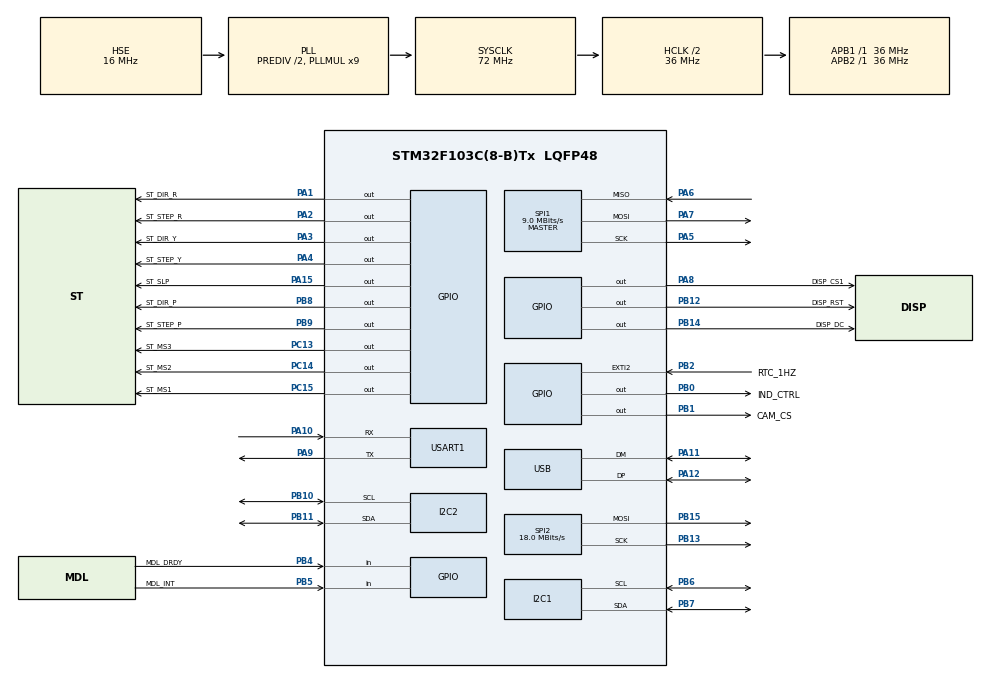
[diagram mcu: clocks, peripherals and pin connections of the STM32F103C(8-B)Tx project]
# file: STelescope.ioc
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Dma.Request0=SPI2_TX
Dma.Request1=SPI1_RX
Dma.Request2=SPI1_TX
Dma.SPI1_RX.1.Direction=DMA_PERIPH_TO_MEMORY
Dma.SPI1_RX.1.Instance=DMA1_Channel2
Dma.SPI1_RX.1.MemDataAlignment=DMA_MDATAALIGN_BYTE
Dma.SPI1_RX.1.MemInc=DMA_MINC_ENABLE
Dma.SPI1_RX.1.Mode=DMA_NORMAL
Dma.SPI1_RX.1.PeriphDataAlignment=DMA_PDATAALIGN_BYTE
Dma.SPI1_RX.1.PeriphInc=DMA_PINC_DISABLE
Dma.SPI1_RX.1.Priority=DMA_PRIORITY_LOW
Dma.SPI1_TX.2.Direction=DMA_MEMORY_TO_PERIPH
Dma.SPI1_TX.2.Instance=DMA1_Channel3
Dma.SPI1_TX.2.MemDataAlignment=DMA_MDATAALIGN_BYTE
Dma.SPI1_TX.2.MemInc=DMA_MINC_ENABLE
Dma.SPI1_TX.2.Mode=DMA_NORMAL
Dma.SPI1_TX.2.PeriphDataAlignment=DMA_PDATAALIGN_BYTE
Dma.SPI1_TX.2.PeriphInc=DMA_PINC_DISABLE
Dma.SPI1_TX.2.Priority=DMA_PRIORITY_LOW
Dma.SPI2_TX.0.Direction=DMA_MEMORY_TO_PERIPH
Dma.SPI2_TX.0.Instance=DMA1_Channel5
Dma.SPI2_TX.0.MemDataAlignment=DMA_MDATAALIGN_BYTE
Dma.SPI2_TX.0.MemInc=DMA_MINC_ENABLE
Dma.SPI2_TX.0.Mode=DMA_NORMAL
Dma.SPI2_TX.0.PeriphDataAlignment=DMA_PDATAALIGN_BYTE
Dma.SPI2_TX.0.PeriphInc=DMA_PINC_DISABLE
Dma.SPI2_TX.0.Priority=DMA_PRIORITY_LOW
Mcu.Family=STM32F1
Mcu.Name=STM32F103C(8-B)Tx
Mcu.Package=LQFP48
NVIC.DMA1_Channel2_IRQn=true\:0\:0\:false\:false\:true\:false\:true\:true
NVIC.DMA1_Channel3_IRQn=true\:0\:0\:false\:false\:true\:false\:true\:true
NVIC.DMA1_Channel5_IRQn=true\:0\:0\:false\:false\:true\:false\:true\:true
NVIC.EXTI2_IRQn=true\:0\:0\:false\:false\:true\:true\:true\:true
NVIC.I2C1_ER_IRQn=true\:0\:0\:false\:false\:true\:true\:true\:true
NVIC.I2C1_EV_IRQn=true\:0\:0\:false\:false\:true\:true\:true\:true
NVIC.I2C2_ER_IRQn=true\:0\:0\:false\:false\:true\:true\:true\:true
NVIC.I2C2_EV_IRQn=true\:0\:0\:false\:false\:true\:true\:true\:true
NVIC.PriorityGroup=NVIC_PRIORITYGROUP_4
NVIC.SPI1_IRQn=true\:0\:0\:false\:false\:true\:true\:true\:true
NVIC.SPI2_IRQn=true\:0\:0\:false\:false\:true\:true\:true\:true
NVIC.TIM2_IRQn=true\:1\:0\:true\:false\:true\:true\:true\:true
NVIC.TIM3_IRQn=true\:0\:0\:false\:false\:true\:true\:true\:true
NVIC.TIM4_IRQn=true\:0\:0\:false\:false\:true\:true\:true\:true
NVIC.USB_LP_CAN1_RX0_IRQn=true\:0\:0\:false\:false\:true\:false\:true\:true
PA1.GPIO_Label=ST_DIR_R
PA1.Signal=GPIO_Output
PA10.Mode=Asynchronous
PA10.Signal=USART1_RX
PA11.Mode=Device
PA11.Signal=USB_DM
PA12.Mode=Device
PA12.Signal=USB_DP
PA13.Mode=Serial_Wire
PA13.Signal=SYS_JTMS-SWDIO
PA14.Mode=Serial_Wire
PA14.Signal=SYS_JTCK-SWCLK
PA15.GPIO_Label=ST_SLP
PA15.Signal=GPIO_Output
PA2.GPIO_Label=ST_STEP_R
PA2.Signal=GPIO_Output
PA3.GPIO_Label=ST_DIR_Y
PA3.Signal=GPIO_Output
PA4.GPIO_Label=ST_STEP_Y
PA4.Signal=GPIO_Output
PA5.Mode=Full_Duplex_Master
PA5.Signal=SPI1_SCK
PA6.Mode=Full_Duplex_Master
PA6.Signal=SPI1_MISO
PA7.Mode=Full_Duplex_Master
PA7.Signal=SPI1_MOSI
PA8.GPIO_Label=DISP_CS1
PA8.Signal=GPIO_Output
PA9.Mode=Asynchronous
PA9.Signal=USART1_TX
PB0.GPIO_Label=IND_CTRL
PB0.Signal=GPIO_Output
PB1.GPIO_Label=CAM_CS
PB1.Signal=GPIO_Output
PB10.Mode=I2C
PB10.Signal=I2C2_SCL
PB11.Mode=I2C
PB11.Signal=I2C2_SDA
PB12.GPIO_Label=DISP_RST
PB12.Signal=GPIO_Output
PB13.Mode=TX_Only_Simplex_Unidirect_Master
PB13.Signal=SPI2_SCK
PB14.GPIO_Label=DISP_DC
PB14.Signal=GPIO_Output
PB15.Mode=TX_Only_Simplex_Unidirect_Master
PB15.Signal=SPI2_MOSI
PB2.GPIO_Label=RTC_1HZ
PB2.GPIO_ModeDefaultEXTI=GPIO_MODE_IT_RISING
PB2.Signal=GPXTI2
PB4.GPIO_Label=MDL_DRDY
PB4.Signal=GPIO_Input
PB5.GPIO_Label=MDL_INT
PB5.Signal=GPIO_Input
PB6.Mode=I2C
PB6.Signal=I2C1_SCL
PB7.Mode=I2C
PB7.Signal=I2C1_SDA
PB8.GPIO_Label=ST_DIR_P
PB8.Signal=GPIO_Output
PB9.GPIO_Label=ST_STEP_P
PB9.Signal=GPIO_Output
PC13-TAMPER-RTC.GPIO_Label=ST_MS3
PC13-TAMPER-RTC.GPIO_PuPd=GPIO_PULLDOWN
PC13-TAMPER-RTC.Signal=GPIO_Output
PC14-OSC32_IN.GPIO_Label=ST_MS2
PC14-OSC32_IN.GPIO_PuPd=GPIO_PULLDOWN
PC14-OSC32_IN.Signal=GPIO_Output
PC15-OSC32_OUT.GPIO_Label=ST_MS1
PC15-OSC32_OUT.GPIO_PuPd=GPIO_PULLDOWN
PC15-OSC32_OUT.Signal=GPIO_Output
PD0-OSC_IN.Mode=HSE-External-Oscillator
PD0-OSC_IN.Signal=RCC_OSC_IN
PD1-OSC_OUT.Mode=HSE-External-Oscillator
PD1-OSC_OUT.Signal=RCC_OSC_OUT
ProjectManager.HeapSize=0x200
ProjectManager.StackSize=0x400
ProjectManager.TargetToolchain=CMake
RCC.AHBCLKDivider=RCC_SYSCLK_DIV2
RCC.AHBFreq_Value=36000000
RCC.APB1Freq_Value=36000000
RCC.APB1TimFreq_Value=36000000
RCC.APB2Freq_Value=36000000
RCC.APB2TimFreq_Value=36000000
RCC.HCLKFreq_Value=36000000
RCC.HSEDivPLL=RCC_HSE_PREDIV_DIV2
RCC.HSE_VALUE=16000000
RCC.PLLMUL=RCC_PLL_MUL9
RCC.RTCClockSelection=RCC_RTCCLKSOURCE_HSE_DIV128
RCC.SYSCLKFreq_VALUE=72000000
RCC.SYSCLKSource=RCC_SYSCLKSOURCE_PLLCLK
RCC.USBFreq_Value=48000000
RCC.USBPrescaler=RCC_USBCLKSOURCE_PLL_DIV1_5
SPI1.BaudRatePrescaler=SPI_BAUDRATEPRESCALER_4
SPI1.CalculateBaudRate=9.0 MBits/s
SPI1.Direction=SPI_DIRECTION_2LINES
SPI1.FirstBit=SPI_FIRSTBIT_MSB
SPI1.Mode=SPI_MODE_MASTER
SPI1.VirtualType=VM_MASTER
SPI2.BaudRatePrescaler=SPI_BAUDRATEPRESCALER_2
SPI2.CalculateBaudRate=18.0 MBits/s
SPI2.Direction=SPI_DIRECTION_2LINES
SPI2.Mode=SPI_MODE_MASTER
SPI2.VirtualType=VM_MASTER
TIM2.Period=99
TIM2.Prescaler=23
TIM3.Period=14
TIM4.Period=9999
TIM4.Prescaler=719
USART1.VirtualMode=VM_ASYNC
USB_DEVICE.CLASS_NAME_FS=CDC
USB_DEVICE.USBD_DEBUG_LEVEL=3
USB_DEVICE.VirtualMode=Cdc
USB_DEVICE.VirtualModeFS=Cdc_FS
VP_TIM2_VS_ClockSourceINT.Mode=Internal
VP_TIM3_VS_ClockSourceINT.Mode=Internal
VP_TIM4_VS_ClockSourceINT.Mode=Internal
VP_USB_DEVICE_VS_USB_DEVICE_CDC_FS.Mode=CDC_FS
board=custom

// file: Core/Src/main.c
/* USER CODE BEGIN Header */
/**
  ******************************************************************************
  * @file           : main.c
  * @brief          : Main program body
  ******************************************************************************
  * @attention
  *
  * Copyright (c) 2025 STMicroelectronics.
  * All rights reserved.
  *
  * This software is licensed under terms that can be found in the LICENSE file
  * in the root directory of this software component.
  * If no LICENSE file comes with this software, it is provided AS-IS.
  *
  ******************************************************************************
  */
/* USER CODE END Header */
#include "main.h"
#include "usb_device.h"

/* USER CODE BEGIN Includes */
#include "stepper.h"
#include "status.h"
#include "compass.h"
#include "accelerometer.h"
#include "display.h"
#include "camera.h"
#include "rtc.h"
#include "usbd_cdc_if.h"
/* USER CODE END Includes */

/* USER CODE BEGIN PD */
#define ACK_DELAY 10000
/* USER CODE END PD */

I2C_HandleTypeDef hi2c1;
I2C_HandleTypeDef hi2c2;

SPI_HandleTypeDef hspi1;
SPI_HandleTypeDef hspi2;
DMA_HandleTypeDef hdma_spi1_rx;
DMA_HandleTypeDef hdma_spi1_tx;
DMA_HandleTypeDef hdma_spi2_tx;

TIM_HandleTypeDef htim2;
TIM_HandleTypeDef htim3;
TIM_HandleTypeDef htim4;

UART_HandleTypeDef huart1;

/* USER CODE BEGIN PV */
uint32_t tim2_tick_sec;

uint32_t tim3_counter_max;

uint32_t last_ack;

uint8_t capture_flag = FALSE;
uint8_t sensor_flag = FALSE;
uint8_t connected = FALSE;

orientation_packet_s orientation;
camera_data_packet_s cam_data;
/* USER CODE END PV */

void SystemClock_Config(void);
static void MX_GPIO_Init(void);
static void MX_DMA_Init(void);
static void MX_USART1_UART_Init(void);
static void MX_TIM2_Init(void);
static void MX_TIM3_Init(void);
static void MX_TIM4_Init(void);
/* USER CODE BEGIN PFP */
void populate_orientation_packet(void);
/* USER CODE END PFP */

int main(void)
{

  /* MCU Configuration--------------------------------------------------------*/

  /* Reset of all peripherals, Initializes the Flash interface and the Systick. */
  HAL_Init();

  /* Configure the system clock */
  SystemClock_Config();

  /* Initialize all configured peripherals */
  MX_GPIO_Init();
  MX_DMA_Init();
  MX_I2C1_Init();
  MX_I2C2_Init();
  MX_SPI1_Init();
  MX_SPI2_Init();
  MX_USART1_UART_Init();
  MX_TIM2_Init();
  MX_USB_DEVICE_Init();
  MX_TIM3_Init();
  MX_TIM4_Init();
  /* USER CODE BEGIN 2 */

  if(init_status_leds() != TRUE)
    Error_Handler();

  set_status_led(STATUS_PWR, 0x000001);
  update_leds();
  HAL_Delay(2000);

  set_status_led(STATUS_PWR, 0x010000);
  set_status_led(STATUS_MODE, 0x000100);
  set_status_led(STATUS_SENS, 0x000001);
  update_leds();

  if(init_display() != TRUE)
    Error_Handler();

  if(init_camera() != TRUE)
	  Error_Handler();

  set_status_led(STATUS_SENS, 0x000101);
  update_leds();

  if(init_compass() != TRUE)
	  Error_Handler();

  set_status_led(STATUS_SENS, 0x000202);
  update_leds();

  if(init_accelerometer() != TRUE)
	  Error_Handler();

  set_status_led(STATUS_SENS, 0x000303);
  update_leds();

  if(init_rtc() != TRUE)
	  Error_Handler();

  set_status_led(STATUS_SENS, 0x010000);
  update_leds();

  if(init_stepper() != TRUE)
    Error_Handler();

  set_status_led(STATUS_STAT, 0x010000);
  update_leds();

  HAL_TIM_Base_Start_IT(&htim2);
  HAL_TIM_Base_Start_IT(&htim4);
  HAL_NVIC_EnableIRQ(EXTI2_IRQn);

  /*home(YAW);
  home(PITCH);
  home(ROLL);*/

  HAL_Delay(1000);
  /* USER CODE END 2 */

  /* Infinite loop */
  /* USER CODE BEGIN WHILE */
  while (1)
  {
    /*HAL_Delay(40000);
	  HAL_GPIO_TogglePin(ST_DIR_Y_GPIO_Port, ST_DIR_Y_Pin);
	  HAL_GPIO_TogglePin(ST_DIR_R_GPIO_Port, ST_DIR_R_Pin);
	  HAL_GPIO_TogglePin(ST_DIR_P_GPIO_Port, ST_DIR_P_Pin);*/
    /* USER CODE END WHILE */

    /* USER CODE BEGIN 3 */

    /*dacq_accelerometer();
    dacq_compass();
    HAL_Delay(100);

    usbd_buff_len = snprintf(usbd_buff, USBD_CDC_BUFF_LEN, "%d|%d|%d|%lu\r\n", accel->out_x_a_raw, accel->out_y_a_raw, accel->out_z_a_raw, get_stepper_position(PITCH));
    CDC_Transmit_FS(usbd_buff, usbd_buff_len);

    HAL_Delay(400);*/

    if(connected && (HAL_GetTick() - last_ack > ACK_DELAY))
    {
      connected = FALSE;
      set_stepper_rate(PITCH, 0);
      set_stepper_rate(YAW, 0);
      set_stepper_rate(ROLL, 0);
      set_stepper_state(SLEEP);
    }

    sensor_update();

    if(get_stepper_state() == TRACKING)
    {
      camera_update();
    }

    telescope_command_s *t_cmd;
    if((t_cmd = get_next_command()) == NULL)
      continue;

    /* Unpack the data */
    int32_t info = (t_cmd->info & 0x800000) ? (t_cmd->info | 0xFF000000) : t_cmd->info;

    switch (t_cmd->cmd) {
      case CMD_SET_R_RATE:
        set_stepper_rate(ROLL, info);
        break;
      case CMD_SET_Y_RATE:
        set_stepper_rate(YAW, info);
        break;
      case CMD_SET_P_RATE:
        set_stepper_rate(PITCH, info);
        break;
      case CMD_SET_R_POS:
        set_desired_stepper_position(ROLL, info);
        break;
      case CMD_SET_Y_POS:
        set_desired_stepper_position(YAW, info);
        break;
      case CMD_SET_P_POS:
        set_desired_stepper_position(PITCH, info);
        break;
      case CMD_SET_STATE:
        set_stepper_state(info);
        break;
      case CMD_RESET_POS:
        set_stepper_position(info, 0);
        break;
      case CMD_RESET_DES_POS:
        set_desired_stepper_position(info, MAX_POSITION);
        break;
      case CMD_HOME:
#if 0
        /* Deprecated */
        HAL_TIM_Base_Stop_IT(&htim4);
        HAL_NVIC_DisableIRQ(EXTI2_IRQn);
        home(YAW);
        home(PITCH);
        home(ROLL);
        HAL_TIM_Base_Start_IT(&htim4);
        HAL_NVIC_EnableIRQ(EXTI2_IRQn);
#endif
        break;
      case CMD_MICST_MODE: /* Change the microstep mode (mode given in info)*/
        set_microstep_mode(info);
        break;
      case CMD_CAPTURE:
        break;
      case CMD_EM_STOP:
        set_stepper_state(SLEEP);
        set_stepper_rate(PITCH, 0);
        set_stepper_rate(YAW, 0);
        set_stepper_rate(ROLL, 0);
        break;
      case CMD_STOP:
        set_stepper_rate(PITCH, 0);
        set_stepper_rate(YAW, 0);
        set_stepper_rate(ROLL, 0);
        break;
      case CMD_ACK:
        connected = TRUE;
        last_ack = HAL_GetTick();
      case CMD_INVALID:
      default:
        break;
    }

    /*usbd_buff_len = snprintf((char*) usbd_buff, USBD_CDC_BUFF_LEN, "Received CMD:%d, INFO:%d\r\n", t_cmd->cmd, t_cmd->info);
    CDC_Transmit_FS(usbd_buff, usbd_buff_len);*/
  }

  /* USER CODE END 3 */
}

void SystemClock_Config(void)
{
  RCC_OscInitTypeDef RCC_OscInitStruct = {0};
  RCC_ClkInitTypeDef RCC_ClkInitStruct = {0};
  RCC_PeriphCLKInitTypeDef PeriphClkInit = {0};

  /** Initializes the RCC Oscillators according to the specified parameters
  * in the RCC_OscInitTypeDef structure.
  */
  RCC_OscInitStruct.OscillatorType = RCC_OSCILLATORTYPE_HSE;
  RCC_OscInitStruct.HSEState = RCC_HSE_ON;
  RCC_OscInitStruct.HSEPredivValue = RCC_HSE_PREDIV_DIV2;
  RCC_OscInitStruct.HSIState = RCC_HSI_ON;
  RCC_OscInitStruct.PLL.PLLState = RCC_PLL_ON;
  RCC_OscInitStruct.PLL.PLLSource = RCC_PLLSOURCE_HSE;
  RCC_OscInitStruct.PLL.PLLMUL = RCC_PLL_MUL9;
  if (HAL_RCC_OscConfig(&RCC_OscInitStruct) != HAL_OK)
  {
    Error_Handler();
  }

  /** Initializes the CPU, AHB and APB buses clocks
  */
  RCC_ClkInitStruct.ClockType = RCC_CLOCKTYPE_HCLK|RCC_CLOCKTYPE_SYSCLK
                              |RCC_CLOCKTYPE_PCLK1|RCC_CLOCKTYPE_PCLK2;
  RCC_ClkInitStruct.SYSCLKSource = RCC_SYSCLKSOURCE_PLLCLK;
  RCC_ClkInitStruct.AHBCLKDivider = RCC_SYSCLK_DIV2;
  RCC_ClkInitStruct.APB1CLKDivider = RCC_HCLK_DIV1;
  RCC_ClkInitStruct.APB2CLKDivider = RCC_HCLK_DIV1;

  if (HAL_RCC_ClockConfig(&RCC_ClkInitStruct, FLASH_LATENCY_2) != HAL_OK)
  {
    Error_Handler();
  }
  PeriphClkInit.PeriphClockSelection = RCC_PERIPHCLK_USB;
  PeriphClkInit.UsbClockSelection = RCC_USBCLKSOURCE_PLL_DIV1_5;
  if (HAL_RCCEx_PeriphCLKConfig(&PeriphClkInit) != HAL_OK)
  {
    Error_Handler();
  }
}

void MX_I2C1_Init(void)
{

  hi2c1.Instance = I2C1;
  hi2c1.Init.ClockSpeed = 100000;
  hi2c1.Init.DutyCycle = I2C_DUTYCYCLE_2;
  hi2c1.Init.OwnAddress1 = 0;
  hi2c1.Init.AddressingMode = I2C_ADDRESSINGMODE_7BIT;
  hi2c1.Init.DualAddressMode = I2C_DUALADDRESS_DISABLE;
  hi2c1.Init.OwnAddress2 = 0;
  hi2c1.Init.GeneralCallMode = I2C_GENERALCALL_DISABLE;
  hi2c1.Init.NoStretchMode = I2C_NOSTRETCH_DISABLE;
  if (HAL_I2C_Init(&hi2c1) != HAL_OK)
  {
    Error_Handler();
  }

}

void MX_I2C2_Init(void)
{

  hi2c2.Instance = I2C2;
  hi2c2.Init.ClockSpeed = 100000;
  hi2c2.Init.DutyCycle = I2C_DUTYCYCLE_2;
  hi2c2.Init.OwnAddress1 = 0;
  hi2c2.Init.AddressingMode = I2C_ADDRESSINGMODE_7BIT;
  hi2c2.Init.DualAddressMode = I2C_DUALADDRESS_DISABLE;
  hi2c2.Init.OwnAddress2 = 0;
  hi2c2.Init.GeneralCallMode = I2C_GENERALCALL_DISABLE;
  hi2c2.Init.NoStretchMode = I2C_NOSTRETCH_DISABLE;
  if (HAL_I2C_Init(&hi2c2) != HAL_OK)
  {
    Error_Handler();
  }

}

void MX_SPI1_Init(void)
{

  /* SPI1 parameter configuration*/
  hspi1.Instance = SPI1;
  hspi1.Init.Mode = SPI_MODE_MASTER;
  hspi1.Init.Direction = SPI_DIRECTION_2LINES;
  hspi1.Init.DataSize = SPI_DATASIZE_8BIT;
  hspi1.Init.CLKPolarity = SPI_POLARITY_LOW;
  hspi1.Init.CLKPhase = SPI_PHASE_1EDGE;
  hspi1.Init.NSS = SPI_NSS_SOFT;
  hspi1.Init.BaudRatePrescaler = SPI_BAUDRATEPRESCALER_4;
  hspi1.Init.FirstBit = SPI_FIRSTBIT_MSB;
  hspi1.Init.TIMode = SPI_TIMODE_DISABLE;
  hspi1.Init.CRCCalculation = SPI_CRCCALCULATION_DISABLE;
  hspi1.Init.CRCPolynomial = 10;
  if (HAL_SPI_Init(&hspi1) != HAL_OK)
  {
    Error_Handler();
  }

}

void MX_SPI2_Init(void)
{

  /* SPI2 parameter configuration*/
  hspi2.Instance = SPI2;
  hspi2.Init.Mode = SPI_MODE_MASTER;
  hspi2.Init.Direction = SPI_DIRECTION_2LINES;
  hspi2.Init.DataSize = SPI_DATASIZE_8BIT;
  hspi2.Init.CLKPolarity = SPI_POLARITY_LOW;
  hspi2.Init.CLKPhase = SPI_PHASE_1EDGE;
  hspi2.Init.NSS = SPI_NSS_SOFT;
  hspi2.Init.BaudRatePrescaler = SPI_BAUDRATEPRESCALER_2;
  hspi2.Init.FirstBit = SPI_FIRSTBIT_MSB;
  hspi2.Init.TIMode = SPI_TIMODE_DISABLE;
  hspi2.Init.CRCCalculation = SPI_CRCCALCULATION_DISABLE;
  hspi2.Init.CRCPolynomial = 10;
  if (HAL_SPI_Init(&hspi2) != HAL_OK)
  {
    Error_Handler();
  }

}

static void MX_TIM2_Init(void)
{

  TIM_ClockConfigTypeDef sClockSourceConfig = {0};
  TIM_MasterConfigTypeDef sMasterConfig = {0};

  htim2.Instance = TIM2;
  htim2.Init.Prescaler = 23;
  htim2.Init.CounterMode = TIM_COUNTERMODE_UP;
  htim2.Init.Period = 99;
  htim2.Init.ClockDivision = TIM_CLOCKDIVISION_DIV1;
  htim2.Init.AutoReloadPreload = TIM_AUTORELOAD_PRELOAD_DISABLE;
  if (HAL_TIM_Base_Init(&htim2) != HAL_OK)
  {
    Error_Handler();
  }
  sClockSourceConfig.ClockSource = TIM_CLOCKSOURCE_INTERNAL;
  if (HAL_TIM_ConfigClockSource(&htim2, &sClockSourceConfig) != HAL_OK)
  {
    Error_Handler();
  }
  sMasterConfig.MasterOutputTrigger = TIM_TRGO_RESET;
  sMasterConfig.MasterSlaveMode = TIM_MASTERSLAVEMODE_DISABLE;
  if (HAL_TIMEx_MasterConfigSynchronization(&htim2, &sMasterConfig) != HAL_OK)
  {
    Error_Handler();
  }
  /* USER CODE BEGIN TIM2_Init 2 */

  tim2_tick_sec = SystemCoreClock / (htim2.Init.Prescaler + 1) / (htim2.Init.Period + 1);

  /* USER CODE END TIM2_Init 2 */

}

static void MX_TIM3_Init(void)
{

  TIM_ClockConfigTypeDef sClockSourceConfig = {0};
  TIM_MasterConfigTypeDef sMasterConfig = {0};

  htim3.Instance = TIM3;
  htim3.Init.Prescaler = 0;
  htim3.Init.CounterMode = TIM_COUNTERMODE_UP;
  htim3.Init.Period = 14;
  htim3.Init.ClockDivision = TIM_CLOCKDIVISION_DIV1;
  htim3.Init.AutoReloadPreload = TIM_AUTORELOAD_PRELOAD_DISABLE;
  if (HAL_TIM_Base_Init(&htim3) != HAL_OK)
  {
    Error_Handler();
  }
  sClockSourceConfig.ClockSource = TIM_CLOCKSOURCE_INTERNAL;
  if (HAL_TIM_ConfigClockSource(&htim3, &sClockSourceConfig) != HAL_OK)
  {
    Error_Handler();
  }
  sMasterConfig.MasterOutputTrigger = TIM_TRGO_RESET;
  sMasterConfig.MasterSlaveMode = TIM_MASTERSLAVEMODE_DISABLE;
  if (HAL_TIMEx_MasterConfigSynchronization(&htim3, &sMasterConfig) != HAL_OK)
  {
    Error_Handler();
  }

}

static void MX_TIM4_Init(void)
{

  TIM_ClockConfigTypeDef sClockSourceConfig = {0};
  TIM_MasterConfigTypeDef sMasterConfig = {0};

  htim4.Instance = TIM4;
  htim4.Init.Prescaler = 719;
  htim4.Init.CounterMode = TIM_COUNTERMODE_UP;
  htim4.Init.Period = 9999;
  htim4.Init.ClockDivision = TIM_CLOCKDIVISION_DIV1;
  htim4.Init.AutoReloadPreload = TIM_AUTORELOAD_PRELOAD_DISABLE;
  if (HAL_TIM_Base_Init(&htim4) != HAL_OK)
  {
    Error_Handler();
  }
  sClockSourceConfig.ClockSource = TIM_CLOCKSOURCE_INTERNAL;
  if (HAL_TIM_ConfigClockSource(&htim4, &sClockSourceConfig) != HAL_OK)
  {
    Error_Handler();
  }
  sMasterConfig.MasterOutputTrigger = TIM_TRGO_RESET;
  sMasterConfig.MasterSlaveMode = TIM_MASTERSLAVEMODE_DISABLE;
  if (HAL_TIMEx_MasterConfigSynchronization(&htim4, &sMasterConfig) != HAL_OK)
  {
    Error_Handler();
  }

}

static void MX_USART1_UART_Init(void)
{

  huart1.Instance = USART1;
  huart1.Init.BaudRate = 115200;
  huart1.Init.WordLength = UART_WORDLENGTH_8B;
  huart1.Init.StopBits = UART_STOPBITS_1;
  huart1.Init.Parity = UART_PARITY_NONE;
  huart1.Init.Mode = UART_MODE_TX_RX;
  huart1.Init.HwFlowCtl = UART_HWCONTROL_NONE;
  huart1.Init.OverSampling = UART_OVERSAMPLING_16;
  if (HAL_UART_Init(&huart1) != HAL_OK)
  {
    Error_Handler();
  }

}

static void MX_DMA_Init(void)
{

  /* DMA controller clock enable */
  __HAL_RCC_DMA1_CLK_ENABLE();

  /* DMA interrupt init */
  /* DMA1_Channel2_IRQn interrupt configuration */
  HAL_NVIC_SetPriority(DMA1_Channel2_IRQn, 0, 0);
  HAL_NVIC_EnableIRQ(DMA1_Channel2_IRQn);
  /* DMA1_Channel3_IRQn interrupt configuration */
  HAL_NVIC_SetPriority(DMA1_Channel3_IRQn, 0, 0);
  HAL_NVIC_EnableIRQ(DMA1_Channel3_IRQn);
  /* DMA1_Channel5_IRQn interrupt configuration */
  HAL_NVIC_SetPriority(DMA1_Channel5_IRQn, 0, 0);
  HAL_NVIC_EnableIRQ(DMA1_Channel5_IRQn);

}

static void MX_GPIO_Init(void)
{
  GPIO_InitTypeDef GPIO_InitStruct = {0};

  /* GPIO Ports Clock Enable */
  __HAL_RCC_GPIOC_CLK_ENABLE();
  __HAL_RCC_GPIOD_CLK_ENABLE();
  __HAL_RCC_GPIOA_CLK_ENABLE();
  __HAL_RCC_GPIOB_CLK_ENABLE();

  /*Configure GPIO pin Output Level */
  HAL_GPIO_WritePin(GPIOC, ST_MS3_Pin|ST_MS2_Pin|ST_MS1_Pin, GPIO_PIN_RESET);

  /*Configure GPIO pin Output Level */
  HAL_GPIO_WritePin(GPIOA, ST_DIR_R_Pin|ST_STEP_R_Pin|ST_DIR_Y_Pin|ST_STEP_Y_Pin
                          |DISP_CS1_Pin|ST_SLP_Pin, GPIO_PIN_RESET);

  /*Configure GPIO pin Output Level */
  HAL_GPIO_WritePin(GPIOB, IND_CTRL_Pin|CAM_CS_Pin|DISP_RST_Pin|DISP_DC_Pin
                          |ST_DIR_P_Pin|ST_STEP_P_Pin, GPIO_PIN_RESET);

  /*Configure GPIO pins : ST_MS3_Pin ST_MS2_Pin ST_MS1_Pin */
  GPIO_InitStruct.Pin = ST_MS3_Pin|ST_MS2_Pin|ST_MS1_Pin;
  GPIO_InitStruct.Mode = GPIO_MODE_OUTPUT_PP;
  GPIO_InitStruct.Pull = GPIO_PULLDOWN;
  GPIO_InitStruct.Speed = GPIO_SPEED_FREQ_LOW;
  HAL_GPIO_Init(GPIOC, &GPIO_InitStruct);

  /*Configure GPIO pins : ST_DIR_R_Pin ST_STEP_R_Pin ST_DIR_Y_Pin ST_STEP_Y_Pin
                           DISP_CS1_Pin ST_SLP_Pin */
  GPIO_InitStruct.Pin = ST_DIR_R_Pin|ST_STEP_R_Pin|ST_DIR_Y_Pin|ST_STEP_Y_Pin
                          |DISP_CS1_Pin|ST_SLP_Pin;
  GPIO_InitStruct.Mode = GPIO_MODE_OUTPUT_PP;
  GPIO_InitStruct.Pull = GPIO_NOPULL;
  GPIO_InitStruct.Speed = GPIO_SPEED_FREQ_LOW;
  HAL_GPIO_Init(GPIOA, &GPIO_InitStruct);

  /*Configure GPIO pins : IND_CTRL_Pin CAM_CS_Pin DISP_RST_Pin DISP_DC_Pin
                           ST_DIR_P_Pin ST_STEP_P_Pin */
  GPIO_InitStruct.Pin = IND_CTRL_Pin|CAM_CS_Pin|DISP_RST_Pin|DISP_DC_Pin
                          |ST_DIR_P_Pin|ST_STEP_P_Pin;
  GPIO_InitStruct.Mode = GPIO_MODE_OUTPUT_PP;
  GPIO_InitStruct.Pull = GPIO_NOPULL;
  GPIO_InitStruct.Speed = GPIO_SPEED_FREQ_LOW;
  HAL_GPIO_Init(GPIOB, &GPIO_InitStruct);

  /*Configure GPIO pin : RTC_1HZ_Pin */
  GPIO_InitStruct.Pin = RTC_1HZ_Pin;
  GPIO_InitStruct.Mode = GPIO_MODE_IT_RISING;
  GPIO_InitStruct.Pull = GPIO_NOPULL;
  HAL_GPIO_Init(RTC_1HZ_GPIO_Port, &GPIO_InitStruct);

  /*Configure GPIO pins : MDL_DRDY_Pin MDL_INT_Pin */
  GPIO_InitStruct.Pin = MDL_DRDY_Pin|MDL_INT_Pin;
  GPIO_InitStruct.Mode = GPIO_MODE_INPUT;
  GPIO_InitStruct.Pull = GPIO_NOPULL;
  HAL_GPIO_Init(GPIOB, &GPIO_InitStruct);

  /* EXTI interrupt init*/
  HAL_NVIC_SetPriority(EXTI2_IRQn, 0, 0);

}

/* USER CODE BEGIN 4 */
/**
  * Define callbacks for I2C and SPI
  */
void HAL_I2C_MasterTxCpltCallback(I2C_HandleTypeDef *hi2c)
{
	handle_e handle = hi2c == &hi2c1 ? I2C_1 : I2C_2;
	rtx_i2c_cb(handle);
}

void HAL_I2C_MasterRxCpltCallback(I2C_HandleTypeDef *hi2c)
{
	handle_e handle = hi2c == &hi2c1 ? I2C_1 : I2C_2;
	rtx_i2c_cb(handle);
}

void HAL_SPI_TxCpltCallback(SPI_HandleTypeDef *hspi)
{
	handle_e handle = hspi == &hspi1 ? SPI_1 : SPI_2;
	rtx_spi_cb(handle);
}

void HAL_SPI_TxRxCpltCallback(SPI_HandleTypeDef *hspi)
{
	handle_e handle = hspi == &hspi1 ? SPI_1 : SPI_2;
	rtx_spi_cb(handle);
}

/*
* Interrupt and main loop handlers for data acquisition and stepper motor control
*/

void step()
{

}

void led_update()
{

}

void sensor_update()
{
  if(sensor_flag == TRUE)
  {
    sensor_flag = FALSE;
    dacq_compass(ONBOARD);
    dacq_compass(OFFBOARD);
    dacq_accelerometer();

    populate_orientation_packet();

    CDC_Transmit_FS((uint8_t*) orientation.raw_data, sizeof(orientation_packet_s));
  }
}

void camera_update()
{

  static uint16_t packet = 0;

  capture_step_e step_id = capture_and_pipe(capture_flag, cam_data.buff, CAMERA_PIPE_BUFFER_LENGTH);
  if(capture_flag == TRUE)
    capture_flag = FALSE;

  uint8_t send = (step_id == CAPTURE_DATA) || (step_id == CAPTURE_END);

  cam_data.packet_id = CAMERA_PACKET_ID;
  cam_data.size = CAMERA_PACKET_METADATA_SIZE + get_camera_read_fifo_length();
  cam_data.last_packet = packet;

  if(step_id == CAPTURE_DATA)
    packet++;
  else if(step_id == CAPTURE_END)
    packet = 0;

  if(send)
    CDC_Transmit_FS((uint8_t*) cam_data.raw_data, PACKET_METADATA_SIZE + cam_data.size);
}

void step_isr()
{
  for(uint8_t i = 0; i < AXES; i++)
  {
    if(increment_tick((axes_e) i) == TRUE)
      step_axis((axes_e) i);
  }
}

void led_update_isr()
{
    static uint8_t period = 0;
    static status_led_iterator_s data;

    if(period == 0)
      data = get_next_pulse_cc(FALSE);

    if(data.buff_pos < (WS2812B_WRITE_BITS * STATUS_LED_NUM) && data.ccr_val != 0)
    {
      if (period == 0)
      {
        HAL_GPIO_WritePin(IND_CTRL_GPIO_Port, IND_CTRL_Pin, GPIO_PIN_RESET);
      }
      else if(period == data.ccr_val)
      {
        HAL_GPIO_WritePin(IND_CTRL_GPIO_Port, IND_CTRL_Pin, GPIO_PIN_SET);
      }
    }
    else
    {
      HAL_GPIO_WritePin(IND_CTRL_GPIO_Port, IND_CTRL_Pin, GPIO_PIN_RESET);
    }

    if(data.buff_pos >= (WS2812B_WRITE_BITS * STATUS_LED_NUM + 50))
      HAL_TIM_Base_Stop_IT(&htim3);

    period++;
    period %= 3;

}

void sensor_update_isr()
{
  sensor_flag = TRUE;
}

void camera_update_isr()
{
  capture_flag = TRUE;
}

void populate_orientation_packet()
{
  accelerometer_s *accel = get_accelerometer_data();
  compass_s *offboard_compass = get_compass_data(OFFBOARD);
  compass_s *onboard_compass = get_compass_data(ONBOARD);

  /* Packet ID */
  orientation.packet_id = ORIENTATION_PACKET_ID;
  orientation.size = ORIENTATION_PACKET_SIZE - PACKET_METADATA_SIZE;

  /* Accelerometer */
  orientation.out_x_g_raw = accel->out_x_g_raw;
  orientation.out_y_g_raw = accel->out_y_g_raw;
  orientation.out_z_g_raw = accel->out_z_g_raw;
  orientation.out_x_a_raw = accel->out_x_a_raw;
  orientation.out_y_a_raw = accel->out_y_a_raw;
  orientation.out_z_a_raw = accel->out_z_a_raw;

  /* Offboard and Onboard compass*/
  orientation.out_x_raw_offboard = offboard_compass->out_x_raw;
  orientation.out_y_raw_offboard = offboard_compass->out_y_raw;
  orientation.out_z_raw_offboard = offboard_compass->out_z_raw;
  orientation.out_x_raw_onboard = onboard_compass->out_x_raw;
  orientation.out_y_raw_onboard = onboard_compass->out_y_raw;
  orientation.out_z_raw_onboard = onboard_compass->out_z_raw;

  /* Microstep mode */
  orientation.microstep_mode = get_microstep_mode();

  /* Stepper position */
  orientation.yaw_position = get_stepper_position(YAW);
  orientation.roll_position = get_stepper_position(ROLL);
  orientation.pitch_position = get_stepper_position(PITCH);
  orientation.yaw_rate = get_stepper_rate(YAW);
  orientation.roll_rate = get_stepper_rate(ROLL);
  orientation.pitch_rate = get_stepper_rate(PITCH);
}
/* USER CODE END 4 */

void Error_Handler(void)
{
  __disable_irq();
  while (1)
  {
  }
}
